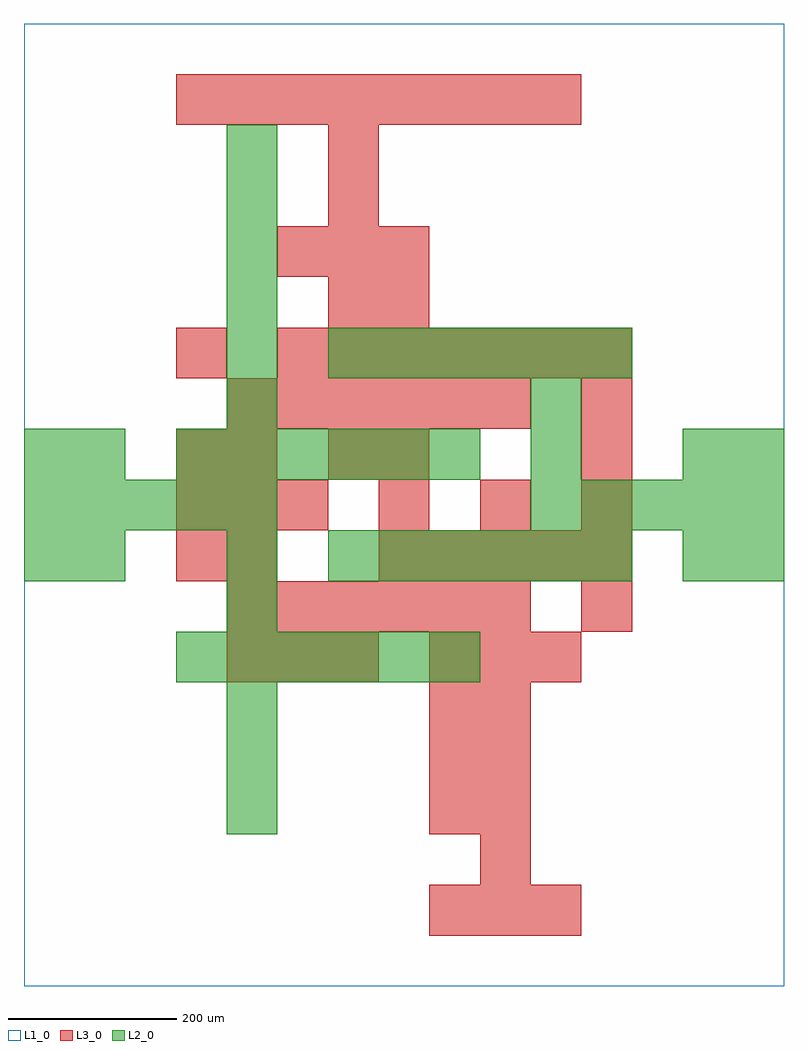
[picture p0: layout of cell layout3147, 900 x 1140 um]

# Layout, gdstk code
import gdstk
lib = gdstk.Library(unit=1e-6, precision=1e-09)
def R(c, l, rs):  # rectangles x0, y0, x1, y1
    for r in rs: c.add(gdstk.rectangle(r[:2], r[2:], *l))
def A(c, l, x, y, w, h, nx, ny, dx, dy):  # array of equal rectangles
    R(c, l, [(x+i*dx, y+j*dy, x+i*dx+w, y+j*dy+h) for i in range(nx) for j in range(ny)])
L1_0 = (1, 0)
L2_0 = (2, 0)
L3_0 = (3, 0)

layout3147 = lib.new_cell('layout3147')
R(layout3147, L1_0, [(0,0,900,1140)])
A(layout3147, L2_0, 240, 180, 60, 60, 1, 3, 0, 60)
A(layout3147, L2_0, 180, 360, 60, 60, 6, 2, 60, 240)
A(layout3147, L2_0, 360, 480, 60, 60, 6, 2, 60, 240)
A(layout3147, L2_0, 0, 540, 60, 60, 5, 1, 60, 0)
A(layout3147, L2_0, 600, 540, 60, 60, 5, 1, 60, 0)
A(layout3147, L2_0, 240, 660, 60, 60, 1, 6, 0, 60)
R(layout3147, L2_0, [(240,420,300,480), (0,480,60,540), (60,480,120,540), (240,480,300,540), (780,480,840,540), (840,480,900,540), (0,600,60,660), (60,600,120,660), (600,600,660,660), (780,600,840,660), (840,600,900,660), (600,660,660,720)])
A(layout3147, L3_0, 480, 60, 60, 60, 3, 2, 60, 300)
A(layout3147, L3_0, 540, 120, 60, 60, 1, 4, 0, 60)
A(layout3147, L3_0, 480, 180, 60, 60, 1, 3, 0, 60)
A(layout3147, L3_0, 240, 360, 60, 60, 3, 1, 60, 0)
A(layout3147, L3_0, 240, 420, 60, 60, 6, 2, 60, 240)
A(layout3147, L3_0, 180, 480, 60, 60, 1, 3, 0, 120)
A(layout3147, L3_0, 420, 480, 60, 60, 5, 1, 60, 0)
A(layout3147, L3_0, 180, 540, 60, 60, 3, 1, 60, 0)
A(layout3147, L3_0, 420, 540, 60, 60, 3, 1, 120, 0)
A(layout3147, L3_0, 300, 720, 60, 60, 7, 1, 60, 0)
A(layout3147, L3_0, 300, 840, 60, 60, 3, 1, 60, 0)
A(layout3147, L3_0, 180, 1020, 60, 60, 8, 1, 60, 0)
R(layout3147, L3_0, [(660,420,720,480), (240,480,300,540), (240,600,300,660), (360,600,420,660), (420,600,480,660), (660,600,720,660), (660,660,720,720), (360,780,420,840), (420,780,480,840), (360,900,420,960), (360,960,420,1020)])

lib.write_gds('layout3147.gds')
